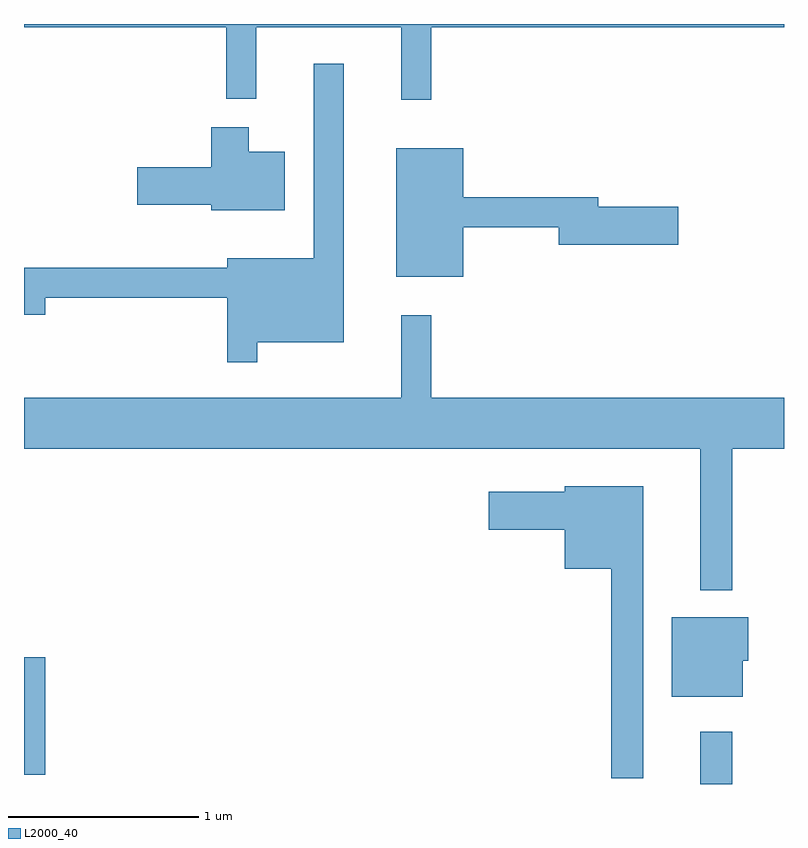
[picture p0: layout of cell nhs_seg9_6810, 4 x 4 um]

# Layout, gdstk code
import gdstk
lib = gdstk.Library(unit=1e-6, precision=1e-09)
def R(c, l, rs):  # rectangles x0, y0, x1, y1
    for r in rs: c.add(gdstk.rectangle(r[:2], r[2:], *l))
def P(c, l, *ps):  # polygons
    for p in ps: c.add(gdstk.Polygon(p, *l))
L2000_40 = (2000, 40)

nhs_seg9_6810 = lib.new_cell('nhs_seg9_6810')
R(nhs_seg9_6810, L2000_40, [(389.171,2054.432,389.339,2054.708), (385.611,2054.481,385.724,2055.099)])
P(nhs_seg9_6810, L2000_40, [(387.754,2058.416),(389.611,2058.416),(389.611,2058.432),(385.611,2058.432),(385.611,2058.416),(386.676,2058.416),(386.676,2058.038),(386.834,2058.038),(386.834,2058.416),(387.596,2058.416),(387.596,2058.033),(387.754,2058.033)],
  [(386.839,2056.756),(387.294,2056.756),(387.294,2058.222),(387.136,2058.222),(387.136,2057.199),(386.681,2057.199),(386.681,2057.149),(385.611,2057.149),(385.611,2056.901),(385.724,2056.901),(385.724,2056.991),(386.681,2056.991),(386.681,2056.653),(386.839,2056.653)],
  [(386.984,2057.759),(386.794,2057.759),(386.794,2057.889),(386.596,2057.889),(386.596,2057.679),(386.206,2057.679),(386.206,2057.481),(386.596,2057.481),(386.596,2057.451),(386.984,2057.451)],
  [(387.924,2057.361),(388.426,2057.361),(388.426,2057.271),(389.054,2057.271),(389.054,2057.469),(388.634,2057.469),(388.634,2057.519),(387.924,2057.519),(387.924,2057.779),(387.571,2057.779),(387.571,2057.101),(387.924,2057.101)],
  [(389.339,2056.196),(389.611,2056.196),(389.611,2056.464),(387.754,2056.464),(387.754,2056.898),(387.596,2056.898),(387.596,2056.464),(385.611,2056.464),(385.611,2056.196),(389.171,2056.196),(389.171,2055.452),(389.339,2055.452)],
  [(388.869,2055.999),(388.456,2055.999),(388.456,2055.969),(388.056,2055.969),(388.056,2055.771),(388.456,2055.771),(388.456,2055.566),(388.701,2055.566),(388.701,2054.463),(388.869,2054.463)],
  [(389.394,2055.081),(389.424,2055.081),(389.424,2055.309),(389.021,2055.309),(389.021,2054.891),(389.394,2054.891)])

lib.write_gds('nhs_seg9_6810.gds')
